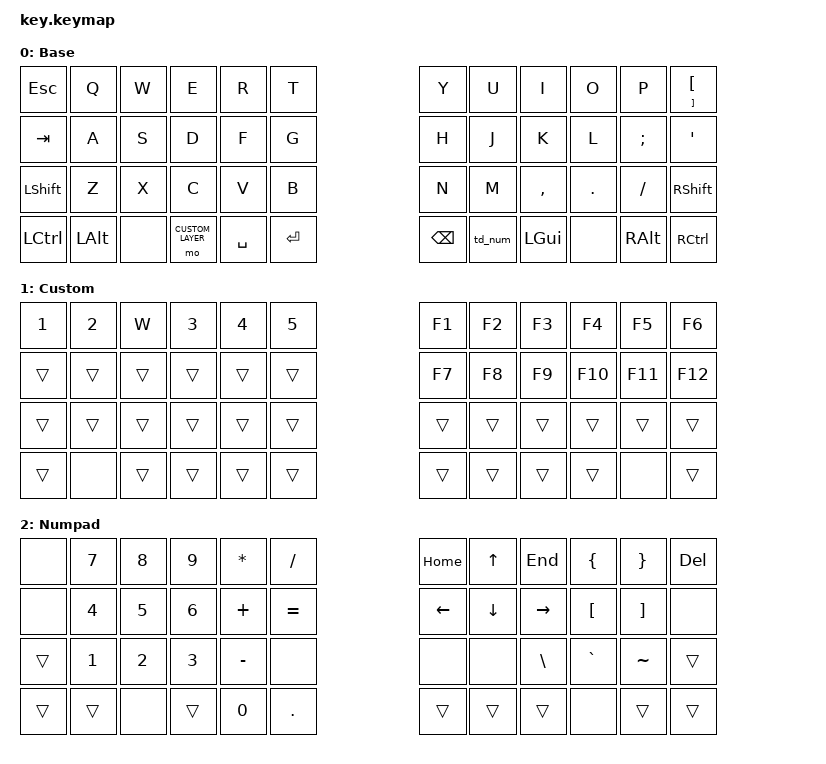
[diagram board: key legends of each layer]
#include <behaviors.dtsi>
#include <dt-bindings/zmk/keys.h>
#include <dt-bindings/zmk/outputs.h>
#include <dt-bindings/zmk/bt.h>

#define BASE 0
#define CUSTOM_LAYER 1
#define NUMPAD 2

/ {
        behaviors {
        // Настройка умного переключателя слоя через Tap-Dance
        td_num: tap_dance_numpad {
            compatible = "zmk,behavior-tap-dance";
            #binding-cells = <0>;
            tapping-term-ms = <250>; 
            bindings = <&mo NUMPAD>, <&tog NUMPAD>;
        };

        // НАСТРОЙКА ДЛЯ СОВМЕЩЕННОЙ КЛАВИШИ Х / Ъ
        brackets_hold: brackets_tap_dance {
            compatible = "zmk,behavior-hold-tap";
            #binding-cells = <2>;
            flavor = "hold-preferred";
            tapping-term-ms = <200>; // Время зажатия в мс для срабатывания буквы Ъ
            bindings = <&kp>, <&kp>;
        };
    };


    keymap {
        compatible = "zmk,keymap";

        // =================================================================================================================
        // БАЗОВЫЙ СЛОЙ (BASE) — СТАНДАРТНЫЕ БУКВЫ И ОСНОВНЫЕ КЛАВИШИ
        // =================================================================================================================
        base_layer {
            display-name = "Base";
            bindings = <
                // ЛЕВАЯ ПОЛОВИНА:      Кл.1                Кл.2      Кл.3      Кл.4             Кл.5      Кл.6          ПРАВАЯ ПОЛОВИНА:    Кл.7      Кл.8      Кл.9      Кл.10     Кл.11     Кл.12
                // ----------------------------------------------------------------------------------------------------------------------------------------------------------------------------
                /* Ряд 0 (Верхний) */   &kp ESC             &kp Q     &kp W     &kp E            &kp R     &kp T                             &kp Y     &kp U     &kp I     &kp O     &kp P     &brackets_hold RBKT LBKT
                /* Ряд 1 (Средний) */   &kp TAB             &kp A     &kp S     &kp D            &kp F     &kp G                             &kp H     &kp J     &kp K     &kp L     &kp SEMI  &kp SQT
                /* Ряд 2 (Нижний)  */   &kp LSHIFT          &kp Z     &kp X     &kp C            &kp V     &kp B                             &kp N     &kp M     &kp COMMA &kp DOT   &kp FSLH  &kp RSHFT
                /* Ряд 3 (Большой) */   &kp LCTRL           &kp LALT  &none     &mo CUSTOM_LAYER &kp SPACE &kp ENTER                         &kp BSPC  &td_num   &kp LGUI  &none     &kp RALT  &kp RCTRL
            >;
        };

        // =================================================================================================================      
        // ВТОРОЙ СЛОЙ (CUSTOM) — ПЕРЕНАЗНАЧЕННЫЕ ЦИФРЫ СЛЕВА И F1-F12 СПРАВА (АКТИВЕН ПРИ УДЕРЖАНИИ) 
        // =================================================================================================================
        custom_layer {
            display-name = "Custom";
            bindings = <
                // ЛЕВАЯ ПОЛОВИНА:      Кл.1      Кл.2      Кл.3      Кл.4      Кл.5         Кл.6          ПРАВАЯ ПОЛОВИНА:     Кл.7      Кл.8      Кл.9      Кл.10     Кл.11     Кл.12
                // ------------------------------------------------------------------------------------------------------------------------------------------------------------------
                /* Ряд 0 (Верхний) */   &kp N1    &kp N2    &kp W     &kp N3    &kp N4       &kp N5                             &kp F1    &kp F2    &kp F3    &kp F4    &kp F5    &kp F6
                /* Ряд 1 (Средний) */   &trans    &trans    &trans    &trans    &trans       &trans                             &kp F7    &kp F8    &kp F9    &kp F10   &kp F11   &kp F12
                /* Ряд 2 (Нижний)  */   &trans    &trans    &trans    &trans    &trans       &trans                             &trans    &trans    &trans    &trans    &trans    &trans
                /* Ряд 3 (Большой) */   &trans    &none     &trans    &trans    &trans       &trans                             &trans    &trans    &trans    &trans    &none     &trans
            >;
        };

        // =================================================================================================================
        // ТРЕТИЙ СЛОЙ (NUMPAD) — ЦИФРОВОЙ БЛОК НА ЛЕВОЙ РУКЕ, СТРЕЛОЧКИ И СКОБКИ НА ПРАВОЙ
        // =================================================================================================================
        numpad_layer {
            display-name = "Numpad";
            bindings = <
                // ЛЕВАЯ ПОЛОВИНА:      Кл.1        Кл.2     Кл.3      Кл.4      Кл.5      Кл.6          ПРАВАЯ ПОЛОВИНА:    Кл.7      Кл.8      Кл.9      Кл.10     Кл.11      Кл.12
                // ------------------------------------------------------------------------------------------------------------------------------------------------------------------
                /* Ряд 0 (Верхний) */   &none       &kp N7   &kp N8    &kp N9    &kp ASTRK &kp FSLH                          &kp HOME  &kp UP    &kp END   &kp LBRC  &kp RBRC   &kp DEL
                /* Ряд 1 (Средний) */   &none       &kp N4   &kp N5    &kp N6    &kp PLUS  &kp EQUAL                         &kp LEFT  &kp DOWN  &kp RIGHT &kp LBKT  &kp RBKT   &none
                /* Ряд 2 (Нижний)  */   &trans      &kp N1   &kp N2    &kp N3    &kp MINUS &none                             &none     &none     &kp BSLH  &kp GRAVE &kp TILDE  &trans
                /* Ряд 3 (Большой) */   &trans      &trans   &none     &trans    &kp N0    &kp DOT                           &trans    &trans    &trans    &none     &trans     &trans
            >;
        };
    };
};
